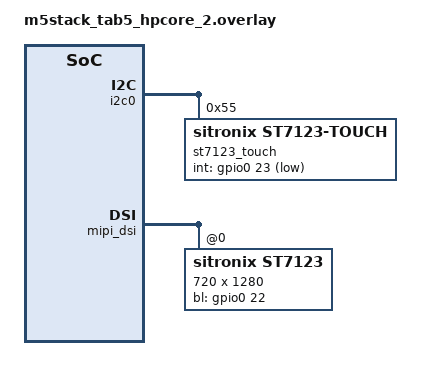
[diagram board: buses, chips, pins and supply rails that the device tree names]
/*
 * SPDX-FileCopyrightText: Copyright The Zephyr Project Contributors
 * SPDX-License-Identifier: Apache-2.0
 */

/* Board revision 2: Sitronix ST7123 display with integrated touch controller */

#include "m5stack_tab5_display.dtsi"

/ {
	chosen {
		zephyr,touch = &st7123_touch;
	};
};

&i2c0 {
	st7123_touch: touch-controller@55 {
		compatible = "sitronix,st7123-touch";
		reg = <0x55>;
		int-gpios = <&gpio0 23 GPIO_ACTIVE_LOW>;
		screen-width = <720>;
		screen-height = <1280>;
	};
};

&mipi_dsi {
	phy-clock = <1000000000>;
	dpi-clock-frequency = <70000000>;

	st7123: panel-controller@0 {
		compatible = "sitronix,st7123";
		reg = <0>;
		data-lanes = <2>;
		pixel-format = <MIPI_DSI_PIXFMT_RGB565>;
		width = <720>;
		height = <1280>;
		bl-gpios = <&gpio0 22 GPIO_ACTIVE_HIGH>;

		display-timings {
			compatible = "zephyr,panel-timing";
			hsync-len = <2>;
			hback-porch = <40>;
			hfront-porch = <40>;
			vsync-len = <2>;
			vback-porch = <8>;
			vfront-porch = <220>;
			hsync-active = <0>;
			vsync-active = <0>;
			de-active = <1>;
			pixelclk-active = <0>;
		};
	};
};

&dsi_display {
	pixel-format = <PANEL_PIXEL_FORMAT_RGB_565>;
};
